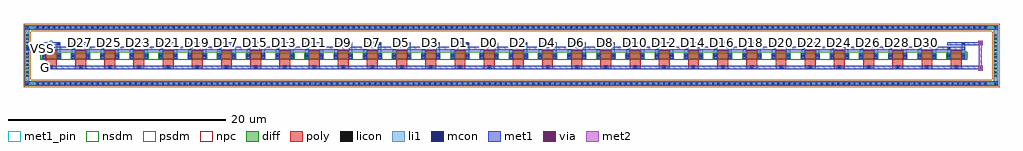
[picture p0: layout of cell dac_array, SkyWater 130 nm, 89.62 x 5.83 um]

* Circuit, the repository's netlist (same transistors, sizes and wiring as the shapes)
.subckt dac_array D0 D1 D2 D3 D4 D5 D6 D7 D8 D9 D10 D11 D12 D13 D14 D15 D16 D17 D18 D19 D20 D21 D22 D23 D24 D25 D26 D27 D28 D29 D30 G VSS
XR G G VSS VSS sky130_fd_pr__nfet_01v8 W=0.5 L=1.0 nf=1 m=1
XU0 D0 G VSS VSS sky130_fd_pr__nfet_01v8 W=0.5 L=1.0 nf=1 m=1
XU1 D1 G VSS VSS sky130_fd_pr__nfet_01v8 W=0.5 L=1.0 nf=1 m=1
XU2 D2 G VSS VSS sky130_fd_pr__nfet_01v8 W=0.5 L=1.0 nf=1 m=1
XU3 D3 G VSS VSS sky130_fd_pr__nfet_01v8 W=0.5 L=1.0 nf=1 m=1
XU4 D4 G VSS VSS sky130_fd_pr__nfet_01v8 W=0.5 L=1.0 nf=1 m=1
XU5 D5 G VSS VSS sky130_fd_pr__nfet_01v8 W=0.5 L=1.0 nf=1 m=1
XU6 D6 G VSS VSS sky130_fd_pr__nfet_01v8 W=0.5 L=1.0 nf=1 m=1
XU7 D7 G VSS VSS sky130_fd_pr__nfet_01v8 W=0.5 L=1.0 nf=1 m=1
XU8 D8 G VSS VSS sky130_fd_pr__nfet_01v8 W=0.5 L=1.0 nf=1 m=1
XU9 D9 G VSS VSS sky130_fd_pr__nfet_01v8 W=0.5 L=1.0 nf=1 m=1
XU10 D10 G VSS VSS sky130_fd_pr__nfet_01v8 W=0.5 L=1.0 nf=1 m=1
XU11 D11 G VSS VSS sky130_fd_pr__nfet_01v8 W=0.5 L=1.0 nf=1 m=1
XU12 D12 G VSS VSS sky130_fd_pr__nfet_01v8 W=0.5 L=1.0 nf=1 m=1
XU13 D13 G VSS VSS sky130_fd_pr__nfet_01v8 W=0.5 L=1.0 nf=1 m=1
XU14 D14 G VSS VSS sky130_fd_pr__nfet_01v8 W=0.5 L=1.0 nf=1 m=1
XU15 D15 G VSS VSS sky130_fd_pr__nfet_01v8 W=0.5 L=1.0 nf=1 m=1
XU16 D16 G VSS VSS sky130_fd_pr__nfet_01v8 W=0.5 L=1.0 nf=1 m=1
XU17 D17 G VSS VSS sky130_fd_pr__nfet_01v8 W=0.5 L=1.0 nf=1 m=1
XU18 D18 G VSS VSS sky130_fd_pr__nfet_01v8 W=0.5 L=1.0 nf=1 m=1
XU19 D19 G VSS VSS sky130_fd_pr__nfet_01v8 W=0.5 L=1.0 nf=1 m=1
XU20 D20 G VSS VSS sky130_fd_pr__nfet_01v8 W=0.5 L=1.0 nf=1 m=1
XU21 D21 G VSS VSS sky130_fd_pr__nfet_01v8 W=0.5 L=1.0 nf=1 m=1
XU22 D22 G VSS VSS sky130_fd_pr__nfet_01v8 W=0.5 L=1.0 nf=1 m=1
XU23 D23 G VSS VSS sky130_fd_pr__nfet_01v8 W=0.5 L=1.0 nf=1 m=1
XU24 D24 G VSS VSS sky130_fd_pr__nfet_01v8 W=0.5 L=1.0 nf=1 m=1
XU25 D25 G VSS VSS sky130_fd_pr__nfet_01v8 W=0.5 L=1.0 nf=1 m=1
XU26 D26 G VSS VSS sky130_fd_pr__nfet_01v8 W=0.5 L=1.0 nf=1 m=1
XU27 D27 G VSS VSS sky130_fd_pr__nfet_01v8 W=0.5 L=1.0 nf=1 m=1
XU28 D28 G VSS VSS sky130_fd_pr__nfet_01v8 W=0.5 L=1.0 nf=1 m=1
XU29 D29 G VSS VSS sky130_fd_pr__nfet_01v8 W=0.5 L=1.0 nf=1 m=1
XU30 D30 G VSS VSS sky130_fd_pr__nfet_01v8 W=0.5 L=1.0 nf=1 m=1
.ends dac_array

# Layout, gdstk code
import gdstk
lib = gdstk.Library(unit=1e-6, precision=5e-09)
def R(c, l, rs):  # rectangles x0, y0, x1, y1
    for r in rs: c.add(gdstk.rectangle(r[:2], r[2:], *l))
def A(c, l, x, y, w, h, nx, ny, dx, dy):  # array of equal rectangles
    R(c, l, [(x+i*dx, y+j*dy, x+i*dx+w, y+j*dy+h) for i in range(nx) for j in range(ny)])
def P(c, l, *ps):  # polygons
    for p in ps: c.add(gdstk.Polygon(p, *l))
diff = (65, 20)
poly = (66, 20)
licon = (66, 44)
li1 = (67, 20)
mcon = (67, 44)
met1_pin = (68, 16)
met1 = (68, 20)
via = (68, 44)
met2 = (69, 20)
nsdm = (93, 44)
psdm = (94, 20)
npc = (95, 20)

dac_array = lib.new_cell('dac_array')
A(dac_array, diff, -1.455, -2.755, 0.41, 0.41, 175, 2, 0.5, 5.16)
A(dac_array, diff, -2.43, -2.045, 0.41, 0.41, 1, 12, 0, 0.34)
A(dac_array, diff, 86.52, -2.045, 0.41, 0.41, 1, 12, 0, 0.34)
A(dac_array, diff, -0.89, -0.25, 1.78, 0.5, 32, 1, 2.68, 0)
R(dac_array, diff, [(-1.455,-2.755,85.955,-2.345), (-2.43,-2.045,-2.02,2.105), (86.52,-2.045,86.93,2.105), (-1.455,2.405,85.955,2.815)])
P(dac_array, diff, [(86.93,2.815),(-2.43,2.815),(-2.43,-2.345),(-2.02,-2.345),(-2.02,2.405),(86.52,2.405),(86.52,-2.345),(-2.02,-2.345),(-2.43,-2.345),(-2.43,-2.755),(86.93,-2.755)])
A(dac_array, poly, -0.5, -1.23, 1, 0.33, 32, 1, 2.68, 0)
A(dac_array, poly, -0.165, -1.23, 0.33, 0.33, 32, 1, 2.68, 0)
A(dac_array, poly, -0.5, -0.9, 1, 0.4, 32, 1, 2.68, 0)
A(dac_array, poly, -0.5, -0.5, 1, 1, 32, 1, 2.68, 0)
A(dac_array, licon, -1.335, -2.635, 0.17, 0.17, 175, 2, 0.5, 5.16)
A(dac_array, licon, -2.31, -1.925, 0.17, 0.17, 1, 12, 0, 0.34)
A(dac_array, licon, 86.64, -1.925, 0.17, 0.17, 1, 12, 0, 0.34)
A(dac_array, licon, -0.085, -1.15, 0.17, 0.17, 32, 1, 2.68, 0)
R(dac_array, licon, [(-0.75,-0.085,-0.58,0.085), (0.58,-0.085,0.75,0.085), (1.93,-0.085,2.1,0.085), (3.26,-0.085,3.43,0.085), (4.61,-0.085,4.78,0.085), (5.94,-0.085,6.11,0.085), (7.29,-0.085,7.46,0.085), (8.62,-0.085,8.79,0.085), (9.97,-0.085,10.14,0.085), (11.3,-0.085,11.47,0.085), (12.65,-0.085,12.82,0.085), (13.98,-0.085,14.15,0.085), (15.33,-0.085,15.5,0.085), (16.66,-0.085,16.83,0.085), (18.01,-0.085,18.18,0.085), (19.34,-0.085,19.51,0.085), (20.69,-0.085,20.86,0.085), (22.02,-0.085,22.19,0.085), (23.37,-0.085,23.54,0.085), (24.7,-0.085,24.87,0.085), (26.05,-0.085,26.22,0.085), (27.38,-0.085,27.55,0.085), (28.73,-0.085,28.9,0.085), (30.06,-0.085,30.23,0.085), (31.41,-0.085,31.58,0.085), (32.74,-0.085,32.91,0.085), (34.09,-0.085,34.26,0.085), (35.42,-0.085,35.59,0.085), (36.77,-0.085,36.94,0.085), (38.1,-0.085,38.27,0.085), (39.45,-0.085,39.62,0.085), (40.78,-0.085,40.95,0.085), (42.13,-0.085,42.3,0.085), (43.46,-0.085,43.63,0.085), (44.81,-0.085,44.98,0.085), (46.14,-0.085,46.31,0.085), (47.49,-0.085,47.66,0.085), (48.82,-0.085,48.99,0.085), (50.17,-0.085,50.34,0.085), (51.5,-0.085,51.67,0.085), (52.85,-0.085,53.02,0.085), (54.18,-0.085,54.35,0.085), (55.53,-0.085,55.7,0.085), (56.86,-0.085,57.03,0.085), (58.21,-0.085,58.38,0.085), (59.54,-0.085,59.71,0.085), (60.89,-0.085,61.06,0.085), (62.22,-0.085,62.39,0.085), (63.57,-0.085,63.74,0.085), (64.9,-0.085,65.07,0.085), (66.25,-0.085,66.42,0.085), (67.58,-0.085,67.75,0.085), (68.93,-0.085,69.1,0.085), (70.26,-0.085,70.43,0.085), (71.61,-0.085,71.78,0.085), (72.94,-0.085,73.11,0.085), (74.29,-0.085,74.46,0.085), (75.62,-0.085,75.79,0.085), (76.97,-0.085,77.14,0.085), (78.3,-0.085,78.47,0.085), (79.65,-0.085,79.82,0.085), (80.98,-0.085,81.15,0.085), (82.33,-0.085,82.5,0.085), (83.66,-0.085,83.83,0.085)])
A(dac_array, li1, -1.415, -2.715, 0.33, 0.33, 175, 2, 0.5, 5.16)
A(dac_array, li1, -2.39, -2.005, 0.33, 0.33, 1, 12, 0, 0.34)
A(dac_array, li1, 86.56, -2.005, 0.33, 0.33, 1, 12, 0, 0.34)
A(dac_array, li1, -0.165, -1.23, 0.33, 0.33, 32, 1, 2.68, 0)
A(dac_array, li1, -0.83, 0.25, 0.33, 0.515, 32, 1, 2.68, 0)
A(dac_array, li1, 0.5, 0.25, 0.33, 0.945, 32, 1, 2.68, 0)
A(dac_array, li1, -0.75, 0.595, 0.17, 0.17, 32, 1, 2.68, 0)
A(dac_array, li1, 0.58, 1.025, 0.17, 0.17, 32, 1, 2.68, 0)
R(dac_array, li1, [(-2.43,-2.755,-2.02,-2.345), (86.52,-2.755,86.93,-2.345), (-1.415,-2.715,85.915,-2.385), (-2.31,-2.635,-2.14,-2.465), (-2.31,-2.635,-2.14,-2.465), (86.64,-2.635,86.81,-2.465), (86.64,-2.635,86.81,-2.465), (-2.43,-2.345,-2.02,2.405), (86.52,-2.345,86.93,2.405), (-0.83,-0.25,-0.5,0.25), (0.5,-0.25,0.83,0.25), (1.85,-0.25,2.18,0.25), (3.18,-0.25,3.51,0.25), (4.53,-0.25,4.86,0.25), (5.86,-0.25,6.19,0.25), (7.21,-0.25,7.54,0.25), (8.54,-0.25,8.87,0.25), (9.89,-0.25,10.22,0.25), (11.22,-0.25,11.55,0.25), (12.57,-0.25,12.9,0.25), (13.9,-0.25,14.23,0.25), (15.25,-0.25,15.58,0.25), (16.58,-0.25,16.91,0.25), (17.93,-0.25,18.26,0.25), (19.26,-0.25,19.59,0.25), (20.61,-0.25,20.94,0.25), (21.94,-0.25,22.27,0.25), (23.29,-0.25,23.62,0.25), (24.62,-0.25,24.95,0.25), (25.97,-0.25,26.3,0.25), (27.3,-0.25,27.63,0.25), (28.65,-0.25,28.98,0.25), (29.98,-0.25,30.31,0.25), (31.33,-0.25,31.66,0.25), (32.66,-0.25,32.99,0.25), (34.01,-0.25,34.34,0.25), (35.34,-0.25,35.67,0.25), (36.69,-0.25,37.02,0.25), (38.02,-0.25,38.35,0.25), (39.37,-0.25,39.7,0.25), (40.7,-0.25,41.03,0.25), (42.05,-0.25,42.38,0.25), (43.38,-0.25,43.71,0.25), (44.73,-0.25,45.06,0.25), (46.06,-0.25,46.39,0.25), (47.41,-0.25,47.74,0.25), (48.74,-0.25,49.07,0.25), (50.09,-0.25,50.42,0.25), (51.42,-0.25,51.75,0.25), (52.77,-0.25,53.1,0.25), (54.1,-0.25,54.43,0.25), (55.45,-0.25,55.78,0.25), (56.78,-0.25,57.11,0.25), (58.13,-0.25,58.46,0.25), (59.46,-0.25,59.79,0.25), (60.81,-0.25,61.14,0.25), (62.14,-0.25,62.47,0.25), (63.49,-0.25,63.82,0.25), (64.82,-0.25,65.15,0.25), (66.17,-0.25,66.5,0.25), (67.5,-0.25,67.83,0.25), (68.85,-0.25,69.18,0.25), (70.18,-0.25,70.51,0.25), (71.53,-0.25,71.86,0.25), (72.86,-0.25,73.19,0.25), (74.21,-0.25,74.54,0.25), (75.54,-0.25,75.87,0.25), (76.89,-0.25,77.22,0.25), (78.22,-0.25,78.55,0.25), (79.57,-0.25,79.9,0.25), (80.9,-0.25,81.23,0.25), (82.25,-0.25,82.58,0.25), (83.58,-0.25,83.91,0.25), (-0.83,-0.165,-0.5,0.165), (0.5,-0.165,0.83,0.165), (1.85,-0.165,2.18,0.165), (3.18,-0.165,3.51,0.165), (4.53,-0.165,4.86,0.165), (5.86,-0.165,6.19,0.165), (7.21,-0.165,7.54,0.165), (8.54,-0.165,8.87,0.165), (9.89,-0.165,10.22,0.165), (11.22,-0.165,11.55,0.165), (12.57,-0.165,12.9,0.165), (13.9,-0.165,14.23,0.165), (15.25,-0.165,15.58,0.165), (16.58,-0.165,16.91,0.165), (17.93,-0.165,18.26,0.165), (19.26,-0.165,19.59,0.165), (20.61,-0.165,20.94,0.165), (21.94,-0.165,22.27,0.165), (23.29,-0.165,23.62,0.165), (24.62,-0.165,24.95,0.165), (25.97,-0.165,26.3,0.165), (27.3,-0.165,27.63,0.165), (28.65,-0.165,28.98,0.165), (29.98,-0.165,30.31,0.165), (31.33,-0.165,31.66,0.165), (32.66,-0.165,32.99,0.165), (34.01,-0.165,34.34,0.165), (35.34,-0.165,35.67,0.165), (36.69,-0.165,37.02,0.165), (38.02,-0.165,38.35,0.165), (39.37,-0.165,39.7,0.165), (40.7,-0.165,41.03,0.165), (42.05,-0.165,42.38,0.165), (43.38,-0.165,43.71,0.165), (44.73,-0.165,45.06,0.165), (46.06,-0.165,46.39,0.165), (47.41,-0.165,47.74,0.165), (48.74,-0.165,49.07,0.165), (50.09,-0.165,50.42,0.165), (51.42,-0.165,51.75,0.165), (52.77,-0.165,53.1,0.165), (54.1,-0.165,54.43,0.165), (55.45,-0.165,55.78,0.165), (56.78,-0.165,57.11,0.165), (58.13,-0.165,58.46,0.165), (59.46,-0.165,59.79,0.165), (60.81,-0.165,61.14,0.165), (62.14,-0.165,62.47,0.165), (63.49,-0.165,63.82,0.165), (64.82,-0.165,65.15,0.165), (66.17,-0.165,66.5,0.165), (67.5,-0.165,67.83,0.165), (68.85,-0.165,69.18,0.165), (70.18,-0.165,70.51,0.165), (71.53,-0.165,71.86,0.165), (72.86,-0.165,73.19,0.165), (74.21,-0.165,74.54,0.165), (75.54,-0.165,75.87,0.165), (76.89,-0.165,77.22,0.165), (78.22,-0.165,78.55,0.165), (79.57,-0.165,79.9,0.165), (80.9,-0.165,81.23,0.165), (82.25,-0.165,82.58,0.165), (83.58,-0.165,83.91,0.165), (-0.75,-0.085,-0.58,0.085), (-0.75,-0.085,-0.58,0.085), (0.58,-0.085,0.75,0.085), (0.58,-0.085,0.75,0.085), (1.93,-0.085,2.1,0.085), (1.93,-0.085,2.1,0.085), (3.26,-0.085,3.43,0.085), (3.26,-0.085,3.43,0.085), (4.61,-0.085,4.78,0.085), (4.61,-0.085,4.78,0.085), (5.94,-0.085,6.11,0.085), (5.94,-0.085,6.11,0.085), (7.29,-0.085,7.46,0.085), (7.29,-0.085,7.46,0.085), (8.62,-0.085,8.79,0.085), (8.62,-0.085,8.79,0.085), (9.97,-0.085,10.14,0.085), (9.97,-0.085,10.14,0.085), (11.3,-0.085,11.47,0.085), (11.3,-0.085,11.47,0.085), (12.65,-0.085,12.82,0.085), (12.65,-0.085,12.82,0.085), (13.98,-0.085,14.15,0.085), (13.98,-0.085,14.15,0.085), (15.33,-0.085,15.5,0.085), (15.33,-0.085,15.5,0.085), (16.66,-0.085,16.83,0.085), (16.66,-0.085,16.83,0.085), (18.01,-0.085,18.18,0.085), (18.01,-0.085,18.18,0.085), (19.34,-0.085,19.51,0.085), (19.34,-0.085,19.51,0.085), (20.69,-0.085,20.86,0.085), (20.69,-0.085,20.86,0.085), (22.02,-0.085,22.19,0.085), (22.02,-0.085,22.19,0.085), (23.37,-0.085,23.54,0.085), (23.37,-0.085,23.54,0.085), (24.7,-0.085,24.87,0.085), (24.7,-0.085,24.87,0.085), (26.05,-0.085,26.22,0.085), (26.05,-0.085,26.22,0.085), (27.38,-0.085,27.55,0.085), (27.38,-0.085,27.55,0.085), (28.73,-0.085,28.9,0.085), (28.73,-0.085,28.9,0.085), (30.06,-0.085,30.23,0.085), (30.06,-0.085,30.23,0.085), (31.41,-0.085,31.58,0.085), (31.41,-0.085,31.58,0.085), (32.74,-0.085,32.91,0.085), (32.74,-0.085,32.91,0.085), (34.09,-0.085,34.26,0.085), (34.09,-0.085,34.26,0.085), (35.42,-0.085,35.59,0.085), (35.42,-0.085,35.59,0.085), (36.77,-0.085,36.94,0.085), (36.77,-0.085,36.94,0.085), (38.1,-0.085,38.27,0.085), (38.1,-0.085,38.27,0.085), (39.45,-0.085,39.62,0.085), (39.45,-0.085,39.62,0.085), (40.78,-0.085,40.95,0.085), (40.78,-0.085,40.95,0.085), (42.13,-0.085,42.3,0.085), (42.13,-0.085,42.3,0.085), (43.46,-0.085,43.63,0.085), (43.46,-0.085,43.63,0.085), (44.81,-0.085,44.98,0.085), (44.81,-0.085,44.98,0.085), (46.14,-0.085,46.31,0.085), (46.14,-0.085,46.31,0.085), (47.49,-0.085,47.66,0.085), (47.49,-0.085,47.66,0.085), (48.82,-0.085,48.99,0.085), (48.82,-0.085,48.99,0.085), (50.17,-0.085,50.34,0.085), (50.17,-0.085,50.34,0.085), (51.5,-0.085,51.67,0.085), (51.5,-0.085,51.67,0.085), (52.85,-0.085,53.02,0.085), (52.85,-0.085,53.02,0.085), (54.18,-0.085,54.35,0.085), (54.18,-0.085,54.35,0.085), (55.53,-0.085,55.7,0.085), (55.53,-0.085,55.7,0.085), (56.86,-0.085,57.03,0.085), (56.86,-0.085,57.03,0.085), (58.21,-0.085,58.38,0.085), (58.21,-0.085,58.38,0.085), (59.54,-0.085,59.71,0.085), (59.54,-0.085,59.71,0.085), (60.89,-0.085,61.06,0.085), (60.89,-0.085,61.06,0.085), (62.22,-0.085,62.39,0.085), (62.22,-0.085,62.39,0.085), (63.57,-0.085,63.74,0.085), (63.57,-0.085,63.74,0.085), (64.9,-0.085,65.07,0.085), (64.9,-0.085,65.07,0.085), (66.25,-0.085,66.42,0.085), (66.25,-0.085,66.42,0.085), (67.58,-0.085,67.75,0.085), (67.58,-0.085,67.75,0.085), (68.93,-0.085,69.1,0.085), (68.93,-0.085,69.1,0.085), (70.26,-0.085,70.43,0.085), (70.26,-0.085,70.43,0.085), (71.61,-0.085,71.78,0.085), (71.61,-0.085,71.78,0.085), (72.94,-0.085,73.11,0.085), (72.94,-0.085,73.11,0.085), (74.29,-0.085,74.46,0.085), (74.29,-0.085,74.46,0.085), (75.62,-0.085,75.79,0.085), (75.62,-0.085,75.79,0.085), (76.97,-0.085,77.14,0.085), (76.97,-0.085,77.14,0.085), (78.3,-0.085,78.47,0.085), (78.3,-0.085,78.47,0.085), (79.65,-0.085,79.82,0.085), (79.65,-0.085,79.82,0.085), (80.98,-0.085,81.15,0.085), (80.98,-0.085,81.15,0.085), (82.33,-0.085,82.5,0.085), (82.33,-0.085,82.5,0.085), (83.66,-0.085,83.83,0.085), (83.66,-0.085,83.83,0.085), (-2.25,0.595,-2.08,0.765), (-2.43,2.405,-2.02,2.815), (86.52,2.405,86.93,2.815), (-1.415,2.445,85.915,2.775), (-2.31,2.525,-2.14,2.695), (-2.31,2.525,-2.14,2.695), (86.64,2.525,86.81,2.695), (86.64,2.525,86.81,2.695)])
A(dac_array, mcon, -1.335, -2.635, 0.17, 0.17, 175, 2, 0.5, 5.16)
A(dac_array, mcon, -0.085, -1.15, 0.17, 0.17, 32, 1, 2.68, 0)
A(dac_array, mcon, -0.75, 0.595, 0.17, 0.17, 32, 1, 2.68, 0)
A(dac_array, mcon, 0.58, 1.025, 0.17, 0.17, 32, 1, 2.68, 0)
R(dac_array, mcon, [(-2.31,-2.635,-2.14,-2.465), (86.64,-2.635,86.81,-2.465), (-0.75,-0.085,-0.58,0.085), (0.58,-0.085,0.75,0.085), (1.93,-0.085,2.1,0.085), (3.26,-0.085,3.43,0.085), (4.61,-0.085,4.78,0.085), (5.94,-0.085,6.11,0.085), (7.29,-0.085,7.46,0.085), (8.62,-0.085,8.79,0.085), (9.97,-0.085,10.14,0.085), (11.3,-0.085,11.47,0.085), (12.65,-0.085,12.82,0.085), (13.98,-0.085,14.15,0.085), (15.33,-0.085,15.5,0.085), (16.66,-0.085,16.83,0.085), (18.01,-0.085,18.18,0.085), (19.34,-0.085,19.51,0.085), (20.69,-0.085,20.86,0.085), (22.02,-0.085,22.19,0.085), (23.37,-0.085,23.54,0.085), (24.7,-0.085,24.87,0.085), (26.05,-0.085,26.22,0.085), (27.38,-0.085,27.55,0.085), (28.73,-0.085,28.9,0.085), (30.06,-0.085,30.23,0.085), (31.41,-0.085,31.58,0.085), (32.74,-0.085,32.91,0.085), (34.09,-0.085,34.26,0.085), (35.42,-0.085,35.59,0.085), (36.77,-0.085,36.94,0.085), (38.1,-0.085,38.27,0.085), (39.45,-0.085,39.62,0.085), (40.78,-0.085,40.95,0.085), (42.13,-0.085,42.3,0.085), (43.46,-0.085,43.63,0.085), (44.81,-0.085,44.98,0.085), (46.14,-0.085,46.31,0.085), (47.49,-0.085,47.66,0.085), (48.82,-0.085,48.99,0.085), (50.17,-0.085,50.34,0.085), (51.5,-0.085,51.67,0.085), (52.85,-0.085,53.02,0.085), (54.18,-0.085,54.35,0.085), (55.53,-0.085,55.7,0.085), (56.86,-0.085,57.03,0.085), (58.21,-0.085,58.38,0.085), (59.54,-0.085,59.71,0.085), (60.89,-0.085,61.06,0.085), (62.22,-0.085,62.39,0.085), (63.57,-0.085,63.74,0.085), (64.9,-0.085,65.07,0.085), (66.25,-0.085,66.42,0.085), (67.58,-0.085,67.75,0.085), (68.93,-0.085,69.1,0.085), (70.26,-0.085,70.43,0.085), (71.61,-0.085,71.78,0.085), (72.94,-0.085,73.11,0.085), (74.29,-0.085,74.46,0.085), (75.62,-0.085,75.79,0.085), (76.97,-0.085,77.14,0.085), (78.3,-0.085,78.47,0.085), (79.65,-0.085,79.82,0.085), (80.98,-0.085,81.15,0.085), (82.33,-0.085,82.5,0.085), (83.66,-0.085,83.83,0.085), (-2.25,0.595,-2.08,0.765), (-2.31,2.525,-2.14,2.695), (86.64,2.525,86.81,2.695)])
A(dac_array, met1_pin, -0.135, 1.12, 0.27, 0.27, 31, 1, 2.68, 0)
R(dac_array, met1_pin, [(-0.635,-1.2,-0.365,-0.93), (-0.945,0.545,-0.675,0.815)])
A(dac_array, met1, -1.395, -2.695, 0.29, 0.29, 175, 2, 0.5, 5.16)
A(dac_array, met1, -0.5, -1.23, 1, 0.33, 32, 1, 2.68, 0)
A(dac_array, met1, -0.145, -1.21, 0.29, 0.29, 32, 1, 2.68, 0)
A(dac_array, met1, -0.81, 0.535, 0.29, 0.29, 32, 1, 2.68, 0)
A(dac_array, met1, -0.81, 0.535, 1.62, 0.29, 32, 2, 2.68, 0.43)
A(dac_array, met1, 0.52, 0.965, 0.29, 0.29, 32, 1, 2.68, 0)
R(dac_array, met1, [(-2.43,-2.755,-2.02,-2.345), (-2.43,-2.755,-2.02,-2.345), (-2.02,-2.755,86.52,-2.345), (86.52,-2.755,86.93,-2.345), (86.52,-2.755,86.93,-2.345), (-2.37,-2.695,-2.08,-2.405), (86.58,-2.695,86.87,-2.405), (85.09,-1.35,85.52,-0.92), (-0.5,-1.23,83.58,-0.9), (83.58,-1.21,85.52,-0.92), (-0.81,-0.25,-0.52,0.25), (0.52,-0.25,0.81,0.25), (1.87,-0.25,2.16,0.25), (3.2,-0.25,3.49,0.25), (4.55,-0.25,4.84,0.25), (5.88,-0.25,6.17,0.25), (7.23,-0.25,7.52,0.25), (8.56,-0.25,8.85,0.25), (9.91,-0.25,10.2,0.25), (11.24,-0.25,11.53,0.25), (12.59,-0.25,12.88,0.25), (13.92,-0.25,14.21,0.25), (15.27,-0.25,15.56,0.25), (16.6,-0.25,16.89,0.25), (17.95,-0.25,18.24,0.25), (19.28,-0.25,19.57,0.25), (20.63,-0.25,20.92,0.25), (21.96,-0.25,22.25,0.25), (23.31,-0.25,23.6,0.25), (24.64,-0.25,24.93,0.25), (25.99,-0.25,26.28,0.25), (27.32,-0.25,27.61,0.25), (28.67,-0.25,28.96,0.25), (30,-0.25,30.29,0.25), (31.35,-0.25,31.64,0.25), (32.68,-0.25,32.97,0.25), (34.03,-0.25,34.32,0.25), (35.36,-0.25,35.65,0.25), (36.71,-0.25,37,0.25), (38.04,-0.25,38.33,0.25), (39.39,-0.25,39.68,0.25), (40.72,-0.25,41.01,0.25), (42.07,-0.25,42.36,0.25), (43.4,-0.25,43.69,0.25), (44.75,-0.25,45.04,0.25), (46.08,-0.25,46.37,0.25), (47.43,-0.25,47.72,0.25), (48.76,-0.25,49.05,0.25), (50.11,-0.25,50.4,0.25), (51.44,-0.25,51.73,0.25), (52.79,-0.25,53.08,0.25), (54.12,-0.25,54.41,0.25), (55.47,-0.25,55.76,0.25), (56.8,-0.25,57.09,0.25), (58.15,-0.25,58.44,0.25), (59.48,-0.25,59.77,0.25), (60.83,-0.25,61.12,0.25), (62.16,-0.25,62.45,0.25), (63.51,-0.25,63.8,0.25), (64.84,-0.25,65.13,0.25), (66.19,-0.25,66.48,0.25), (67.52,-0.25,67.81,0.25), (68.87,-0.25,69.16,0.25), (70.2,-0.25,70.49,0.25), (71.55,-0.25,71.84,0.25), (72.88,-0.25,73.17,0.25), (74.23,-0.25,74.52,0.25), (75.56,-0.25,75.85,0.25), (76.91,-0.25,77.2,0.25), (78.24,-0.25,78.53,0.25), (79.59,-0.25,79.88,0.25), (80.92,-0.25,81.21,0.25), (82.27,-0.25,82.56,0.25), (83.6,-0.25,83.89,0.25), (-0.81,-0.145,-0.52,0.145), (0.52,-0.145,0.81,0.145), (1.87,-0.145,2.16,0.145), (3.2,-0.145,3.49,0.145), (4.55,-0.145,4.84,0.145), (5.88,-0.145,6.17,0.145), (7.23,-0.145,7.52,0.145), (8.56,-0.145,8.85,0.145), (9.91,-0.145,10.2,0.145), (11.24,-0.145,11.53,0.145), (12.59,-0.145,12.88,0.145), (13.92,-0.145,14.21,0.145), (15.27,-0.145,15.56,0.145), (16.6,-0.145,16.89,0.145), (17.95,-0.145,18.24,0.145), (19.28,-0.145,19.57,0.145), (20.63,-0.145,20.92,0.145), (21.96,-0.145,22.25,0.145), (23.31,-0.145,23.6,0.145), (24.64,-0.145,24.93,0.145), (25.99,-0.145,26.28,0.145), (27.32,-0.145,27.61,0.145), (28.67,-0.145,28.96,0.145), (30,-0.145,30.29,0.145), (31.35,-0.145,31.64,0.145), (32.68,-0.145,32.97,0.145), (34.03,-0.145,34.32,0.145), (35.36,-0.145,35.65,0.145), (36.71,-0.145,37,0.145), (38.04,-0.145,38.33,0.145), (39.39,-0.145,39.68,0.145), (40.72,-0.145,41.01,0.145), (42.07,-0.145,42.36,0.145), (43.4,-0.145,43.69,0.145), (44.75,-0.145,45.04,0.145), (46.08,-0.145,46.37,0.145), (47.43,-0.145,47.72,0.145), (48.76,-0.145,49.05,0.145), (50.11,-0.145,50.4,0.145), (51.44,-0.145,51.73,0.145), (52.79,-0.145,53.08,0.145), (54.12,-0.145,54.41,0.145), (55.47,-0.145,55.76,0.145), (56.8,-0.145,57.09,0.145), (58.15,-0.145,58.44,0.145), (59.48,-0.145,59.77,0.145), (60.83,-0.145,61.12,0.145), (62.16,-0.145,62.45,0.145), (63.51,-0.145,63.8,0.145), (64.84,-0.145,65.13,0.145), (66.19,-0.145,66.48,0.145), (67.52,-0.145,67.81,0.145), (68.87,-0.145,69.16,0.145), (70.2,-0.145,70.49,0.145), (71.55,-0.145,71.84,0.145), (72.88,-0.145,73.17,0.145), (74.23,-0.145,74.52,0.145), (75.56,-0.145,75.85,0.145), (76.91,-0.145,77.2,0.145), (78.24,-0.145,78.53,0.145), (79.59,-0.145,79.88,0.145), (80.92,-0.145,81.21,0.145), (82.27,-0.145,82.56,0.145), (83.6,-0.145,83.89,0.145), (-2.31,0.535,-2.02,0.825), (-2.02,0.535,-0.81,0.825), (-0.81,0.535,83.89,0.825), (83.89,0.965,85.52,1.255), (85.09,0.965,85.52,1.395), (-2.43,2.405,-2.02,2.815), (-2.43,2.405,-2.02,2.815), (-2.02,2.405,86.52,2.815), (86.52,2.405,86.93,2.815), (86.52,2.405,86.93,2.815), (-2.37,2.465,-2.08,2.755), (86.58,2.465,86.87,2.755)])
R(dac_array, via, [(85.23,-1.21,85.38,-1.06), (85.23,1.105,85.38,1.255)])
R(dac_array, met2, [(85.09,-1.35,85.52,-0.92), (85.16,-1.35,85.45,1.395), (85.45,-1.35,85.52,-0.92), (85.14,-1.3,85.47,-0.97), (85.09,0.965,85.52,1.395), (85.45,0.965,85.52,1.395), (85.14,1.015,85.47,1.345)])
A(dac_array, nsdm, -1.02, -0.38, 2.04, 0.76, 32, 1, 2.68, 0)
R(dac_array, nsdm, [(-1.02,-0.38,84.1,0.38)])
P(dac_array, psdm, [(87.06,2.945),(-2.56,2.945),(-2.56,-2.215),(-1.89,-2.215),(-1.89,2.275),(86.39,2.275),(86.39,-2.215),(-1.89,-2.215),(-2.56,-2.215),(-2.56,-2.885),(87.06,-2.885)])
R(dac_array, npc, [(-0.185,-1.25,0.185,-0.88), (-0.185,-1.25,0.185,-0.88), (2.495,-1.25,2.865,-0.88), (2.495,-1.25,2.865,-0.88), (5.175,-1.25,5.545,-0.88), (5.175,-1.25,5.545,-0.88), (7.855,-1.25,8.225,-0.88), (7.855,-1.25,8.225,-0.88), (10.535,-1.25,10.905,-0.88), (10.535,-1.25,10.905,-0.88), (13.215,-1.25,13.585,-0.88), (13.215,-1.25,13.585,-0.88), (15.895,-1.25,16.265,-0.88), (15.895,-1.25,16.265,-0.88), (18.575,-1.25,18.945,-0.88), (18.575,-1.25,18.945,-0.88), (21.255,-1.25,21.625,-0.88), (21.255,-1.25,21.625,-0.88), (23.935,-1.25,24.305,-0.88), (23.935,-1.25,24.305,-0.88), (26.615,-1.25,26.985,-0.88), (26.615,-1.25,26.985,-0.88), (29.295,-1.25,29.665,-0.88), (29.295,-1.25,29.665,-0.88), (31.975,-1.25,32.345,-0.88), (31.975,-1.25,32.345,-0.88), (34.655,-1.25,35.025,-0.88), (34.655,-1.25,35.025,-0.88), (37.335,-1.25,37.705,-0.88), (37.335,-1.25,37.705,-0.88), (40.015,-1.25,40.385,-0.88), (40.015,-1.25,40.385,-0.88), (42.695,-1.25,43.065,-0.88), (42.695,-1.25,43.065,-0.88), (45.375,-1.25,45.745,-0.88), (45.375,-1.25,45.745,-0.88), (48.055,-1.25,48.425,-0.88), (48.055,-1.25,48.425,-0.88), (50.735,-1.25,51.105,-0.88), (50.735,-1.25,51.105,-0.88), (53.415,-1.25,53.785,-0.88), (53.415,-1.25,53.785,-0.88), (56.095,-1.25,56.465,-0.88), (56.095,-1.25,56.465,-0.88), (58.775,-1.25,59.145,-0.88), (58.775,-1.25,59.145,-0.88), (61.455,-1.25,61.825,-0.88), (61.455,-1.25,61.825,-0.88), (64.135,-1.25,64.505,-0.88), (64.135,-1.25,64.505,-0.88), (66.815,-1.25,67.185,-0.88), (66.815,-1.25,67.185,-0.88), (69.495,-1.25,69.865,-0.88), (69.495,-1.25,69.865,-0.88), (72.175,-1.25,72.545,-0.88), (72.175,-1.25,72.545,-0.88), (74.855,-1.25,75.225,-0.88), (74.855,-1.25,75.225,-0.88), (77.535,-1.25,77.905,-0.88), (77.535,-1.25,77.905,-0.88), (80.215,-1.25,80.585,-0.88), (80.215,-1.25,80.585,-0.88), (82.895,-1.25,83.265,-0.88), (82.895,-1.25,83.265,-0.88)])
dac_array.add(gdstk.Label('VSS', (-0.81,0.68), layer=68, texttype=5))
dac_array.add(gdstk.Label('G', (-0.5,-1.065), layer=68, texttype=5))
dac_array.add(gdstk.Label('D30', (80.4,1.255), layer=68, texttype=5))
dac_array.add(gdstk.Label('D29', (0,1.255), layer=68, texttype=5))
dac_array.add(gdstk.Label('D28', (77.72,1.255), layer=68, texttype=5))
dac_array.add(gdstk.Label('D27', (2.68,1.255), layer=68, texttype=5))
dac_array.add(gdstk.Label('D26', (75.04,1.255), layer=68, texttype=5))
dac_array.add(gdstk.Label('D25', (5.36,1.255), layer=68, texttype=5))
dac_array.add(gdstk.Label('D24', (72.36,1.255), layer=68, texttype=5))
dac_array.add(gdstk.Label('D23', (8.04,1.255), layer=68, texttype=5))
dac_array.add(gdstk.Label('D22', (69.68,1.255), layer=68, texttype=5))
dac_array.add(gdstk.Label('D21', (10.72,1.255), layer=68, texttype=5))
dac_array.add(gdstk.Label('D20', (67,1.255), layer=68, texttype=5))
dac_array.add(gdstk.Label('D19', (13.4,1.255), layer=68, texttype=5))
dac_array.add(gdstk.Label('D18', (64.32,1.255), layer=68, texttype=5))
dac_array.add(gdstk.Label('D17', (16.08,1.255), layer=68, texttype=5))
dac_array.add(gdstk.Label('D16', (61.64,1.255), layer=68, texttype=5))
dac_array.add(gdstk.Label('D15', (18.76,1.255), layer=68, texttype=5))
dac_array.add(gdstk.Label('D14', (58.96,1.255), layer=68, texttype=5))
dac_array.add(gdstk.Label('D13', (21.44,1.255), layer=68, texttype=5))
dac_array.add(gdstk.Label('D12', (56.28,1.255), layer=68, texttype=5))
dac_array.add(gdstk.Label('D11', (24.12,1.255), layer=68, texttype=5))
dac_array.add(gdstk.Label('D10', (53.6,1.255), layer=68, texttype=5))
dac_array.add(gdstk.Label('D9', (26.8,1.255), layer=68, texttype=5))
dac_array.add(gdstk.Label('D8', (50.92,1.255), layer=68, texttype=5))
dac_array.add(gdstk.Label('D7', (29.48,1.255), layer=68, texttype=5))
dac_array.add(gdstk.Label('D6', (48.24,1.255), layer=68, texttype=5))
dac_array.add(gdstk.Label('D5', (32.16,1.255), layer=68, texttype=5))
dac_array.add(gdstk.Label('D4', (45.56,1.255), layer=68, texttype=5))
dac_array.add(gdstk.Label('D3', (34.84,1.255), layer=68, texttype=5))
dac_array.add(gdstk.Label('D2', (42.88,1.255), layer=68, texttype=5))
dac_array.add(gdstk.Label('D1', (37.52,1.255), layer=68, texttype=5))
dac_array.add(gdstk.Label('D0', (40.2,1.255), layer=68, texttype=5))

lib.write_gds('dac_array.gds')
